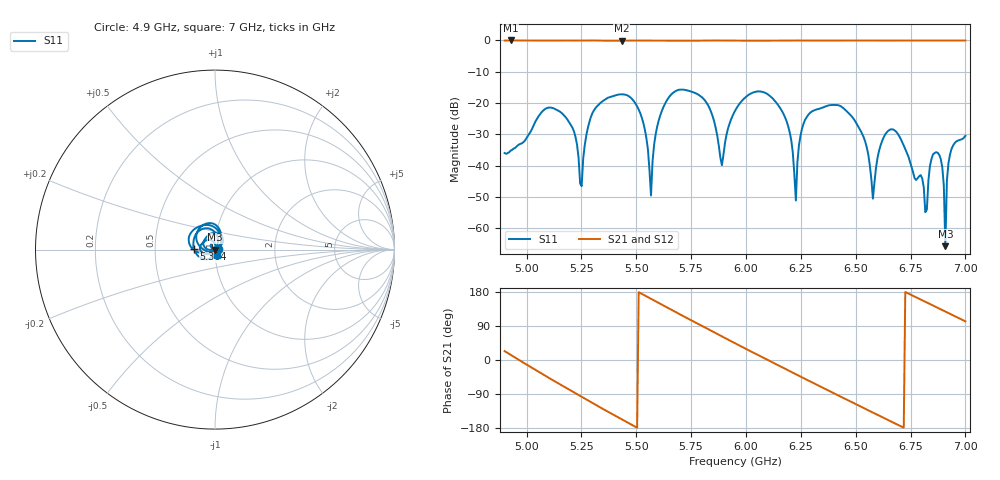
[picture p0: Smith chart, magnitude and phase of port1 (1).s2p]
! 5/6/2022 1:12:33 PM
# GHZ S RI R 50.0
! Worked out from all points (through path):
!   300 points, 4.9 GHz to 7 GHz, reference 50 ohm
!   highest |S21| = -0.03 dB at 4.928 GHz (marker M1); lowest = -0.1 dB at 5.434 GHz (marker M2)
!   lowest |S11| = -65.8 dB at 6.909 GHz (marker M3), VSWR 1.00, Z = 50.1 - j0.0063 ohm
!   |S11| at or under -10 dB: start of sweep to end of sweep
!   |S22| runs from - to - dB; largest |S21 - S12| = 0.0055
!   S11 on the Smith chart (normalised r, x): 4.9 GHz: 1.03, +0.00; 5.364 GHz: 0.79, +0.00; 7 GHz: 1.02, -0.06
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4.9  0.0158 0.00142  0.9112 0.3951  0.9093 0.3934  0 0
4.928094  0.0162 -0.00602  0.9697 0.2292  0.9649 0.2308  0 0
5.124749  -0.076 0.0299  0.5684 -0.8127  0.5689 -0.8094  0 0
5.251171  0.00148 -0.00445  -0.1254 -0.9836  -0.1258 -0.9814  0 0
5.363545  -0.1166 0.00233  -0.6884 -0.7109  -0.6857 -0.7088  0 0
5.433779  -0.0956 0.0987  -0.9046 -0.3946  -0.9024 -0.3943  0 0
5.567224  -0.00316 0.00101  -0.9413 0.3182  -0.9392 0.3153  0 0
5.602341  -0.0484 -0.0204  -0.862 0.4928  -0.8627 0.4912  0 0
5.791973  -0.0102 0.1286  -0.0379 0.9879  -0.0373 0.9859  0 0
5.890301  0.00391 -0.00931  0.463 0.8781  0.4635 0.8772  0 0
5.953512  -0.0778 0.0114  0.7232 0.6789  0.7189 0.6785  0 0
6.157191  0.0374 0.0725  0.9487 -0.2873  0.9483 -0.284  0 0
6.227425  -0.00258 0.000984  0.7885 -0.6074  0.7888 -0.6035  0 0
6.304682  -0.0647 0.0368  0.4947 -0.8603  0.496 -0.857  0 0
6.494314  0.0405 0.0345  -0.4123 -0.9037  -0.4082 -0.9032  0 0
6.578595  -0.000553 0.00291  -0.7471 -0.654  -0.7449 -0.6546  0 0
6.655853  -0.0229 0.0295  -0.938 -0.3275  -0.9358 -0.3289  0 0
6.817391  0.00117 0.00137  -0.8875 0.4456  -0.8859 0.4448  0 0
6.880602  -0.0149 9.63e-05  -0.7132 0.6929  -0.7136 0.6896  0 0
6.908696  0.00051 -6.29e-05  -0.6099 0.786  -0.6104 0.7847  0 0
6.929766  0.0137 -0.00601  -0.5245 0.8445  -0.5245 0.8424  0 0
7  0.00984 -0.0281  -0.2069 0.9723  -0.2087 0.9699  0 0
